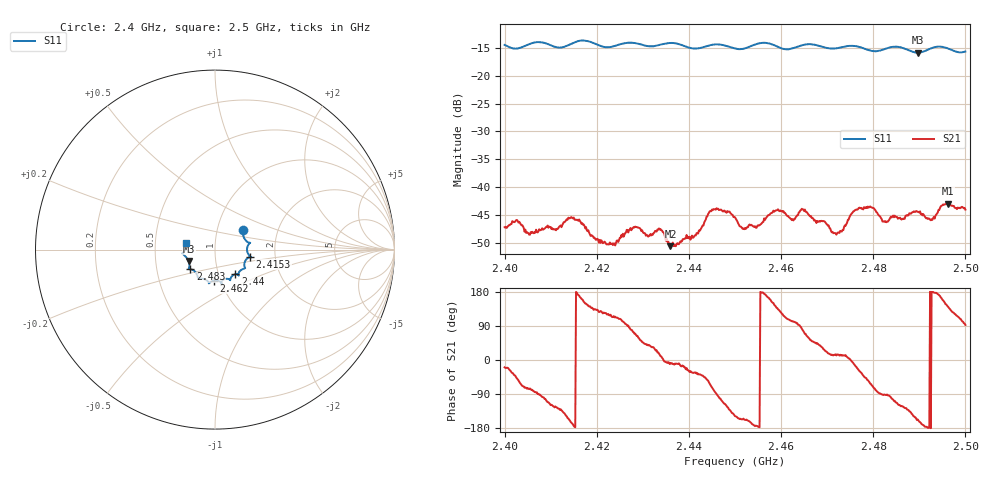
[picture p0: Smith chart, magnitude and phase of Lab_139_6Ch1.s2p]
# Hz S RI R 50
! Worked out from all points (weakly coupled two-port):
!   601 points, 2.4 GHz to 2.5 GHz, reference 50 ohm
!   highest |S21| = -42.91 dB at 2.4962 GHz (marker M1); lowest = -50.5 dB at 2.436 GHz (marker M2)
!   lowest |S11| = -15.9 dB at 2.4897 GHz (marker M3), VSWR 1.38, Z = 36.9 - j4.82 ohm
!   |S11| at or under -10 dB: start of sweep to end of sweep
!   S12 and S22 are empty: the file has one direction only
!   S11 on the Smith chart (normalised r, x): 2.4 GHz: 1.33, +0.29; 2.4153 GHz: 1.48, -0.12; 2.44 GHz: 1.21, -0.34; 2.462 GHz: 0.93, -0.33; 2.483 GHz: 0.74, -0.17; 2.5 GHz: 0.72, +0.06
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2.4e9  0.1553 0.1065  0.00414 -0.00145  0 0  0 0
2.415333e9  0.1961 -0.0386  -0.00511 -0.000227  0 0  0 0
2.416667e9  0.2018 -0.0424  -0.00448 0.00149  0 0  0 0
2.4225e9  0.1654 -0.0701  -0.00161 0.00263  0 0  0 0
2.428167e9  0.1662 -0.1038  0.00152 0.0041  0 0  0 0
2.433333e9  0.131 -0.1336  0.00393 0.00143  0 0  0 0
2.436e9  0.1325 -0.1447  0.00294 -0.000402  0 0  0 0
2.44e9  0.1142 -0.1369  0.00304 -0.00172  0 0  0 0
2.445e9  0.0845 -0.1686  0.00193 -0.00602  0 0  0 0
2.45e9  0.0644 -0.1627  -0.00458 -0.00285  0 0  0 0
2.452e9  0.044 -0.169  -0.00389 -0.00163  0 0  0 0
2.458833e9  0.0321 -0.1817  -0.00486 0.00385  0 0  0 0
2.462e9  -0.00512 -0.1732  -0.0013 0.0051  0 0  0 0
2.466667e9  -0.0343 -0.1877  0.00345 0.00404  0 0  0 0
2.471833e9  -0.0681 -0.1617  0.00375 0.00101  0 0  0 0
2.476833e9  -0.0957 -0.1541  0.00584 -0.00289  0 0  0 0
2.483e9  -0.1375 -0.1096  -9.21e-05 -0.00493  0 0  0 0
2.483333e9  -0.1399 -0.1093  -0.000312 -0.00503  0 0  0 0
2.489667e9  -0.1474 -0.0637  -0.00554 -0.00236  0 0  0 0
2.492833e9  -0.1749 -0.0284  -0.00511 7.45e-05  0 0  0 0
2.496167e9  -0.1749 -0.014  -0.00561 0.00443  0 0  0 0
2.5e9  -0.1596 0.0392  -0.00028 0.00631  0 0  0 0
